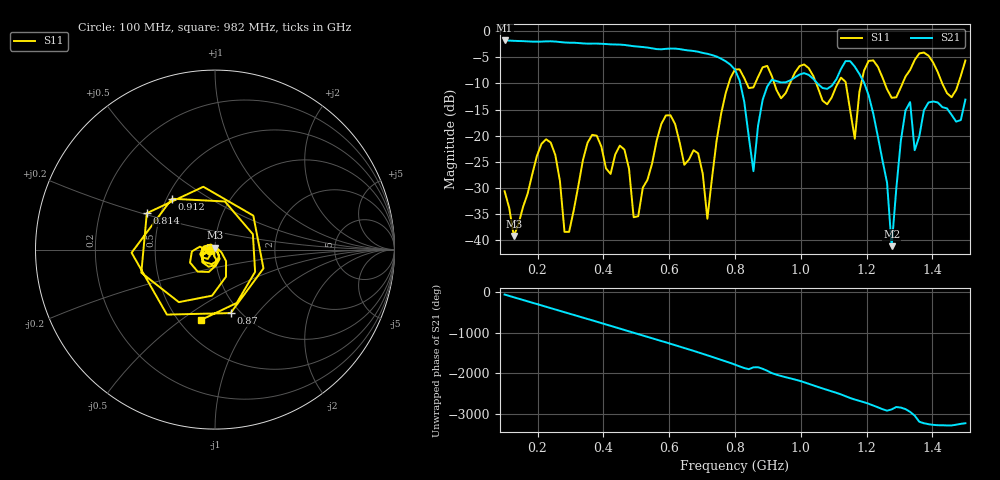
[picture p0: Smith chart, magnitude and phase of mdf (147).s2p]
! NanoVNA-App
! Date: 2025-09-26 09:40:53
! Start: 100MHz Stop: 1,5GHz Points: 101
! S-Parameter data: F S11 S21 S12 S22
# Hz S RI R 50
!  Frequency  S11_Real  S11_Imag  S21_Real  S21_Imag  S12_Real  S12_Imag  S22_Real  S22_Imag
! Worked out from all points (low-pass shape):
!   101 points, 100 MHz to 1.5 GHz, reference 50 ohm
!   highest |S21| = -1.79 dB at 100 MHz (marker M1); lowest = -41.1 dB at 1.276 GHz (marker M2)
!   |S21| within 3 dB of the highest: start of sweep to 740.4 MHz
!   lowest |S11| = -39.2 dB at 128 MHz (marker M3), VSWR 1.02, Z = 50.3 + j1.07 ohm
!   |S11| at or under -10 dB: start of sweep to 780.9 MHz; 1.047 GHz to 1.112 GHz (65.68 MHz wide, 6.08 % of centre); 1.255 GHz to 1.309 GHz (54.07 MHz wide, 4.22 % of centre) (the widest 3 of 7)
!   S12 and S22 are empty: the file has one direction only
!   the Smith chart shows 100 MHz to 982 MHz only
!   S11 on the Smith chart (normalised r, x): 100 MHz: 0.94, -0.01; 814 MHz: 0.42, +0.21; 870 MHz: 0.90, -0.74; 912 MHz: 0.53, +0.35; 982 MHz: 0.64, -0.60
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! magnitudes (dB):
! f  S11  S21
! 100 MHz  -30.6  -1.8
! 128 MHz  -39.2  -1.9
! 212 MHz  -21.6  -2.0
! 282 MHz  -38.4  -2.2
! 338 MHz  -24.7  -2.4
! 464 MHz  -22.7  -2.6
! 506 MHz  -35.4  -3.0
! 576 MHz  -17.8  -3.5
! 688 MHz  -23.4  -3.9
! 716 MHz  -35.9  -4.3
! 800 MHz  -7.3  -7.4
! 814 MHz  -7.3  -9.4
! 856 MHz  -10.8  -26.8
! 870 MHz  -8.8  -18.1
! 912 MHz  -8.6  -9.3
! 982 MHz  -7.9  -8.8
! 1.038 GHz  -8.6  -9.1
! 1.164 GHz  -20.6  -6.8
! 1.192 GHz  -7.6  -9.8
! 1.276 GHz  -12.7  -41.1
! 1.318 GHz  -8.7  -15.2
! 1.5 GHz  -5.6  -13.1
